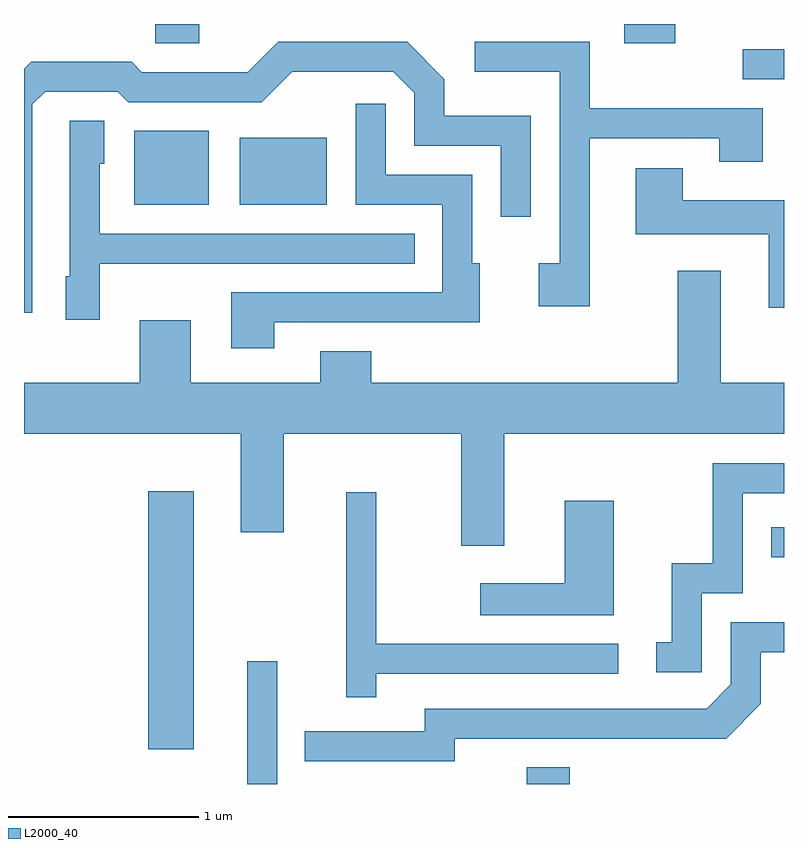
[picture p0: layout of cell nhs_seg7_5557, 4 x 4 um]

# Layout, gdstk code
import gdstk
lib = gdstk.Library(unit=1e-6, precision=1e-09)
def R(c, l, rs):  # rectangles x0, y0, x1, y1
    for r in rs: c.add(gdstk.rectangle(r[:2], r[2:], *l))
def P(c, l, *ps):  # polygons
    for p in ps: c.add(gdstk.Polygon(p, *l))
L2000_40 = (2000, 40)

nhs_seg7_5557 = lib.new_cell('nhs_seg7_5557')
R(nhs_seg7_5557, L2000_40, [(356.786,1710.252,356.944,1710.898), (358.256,1710.252,358.484,1710.339), (356.266,1710.436,356.504,1711.794), (359.543,1711.446,359.611,1711.604), (356.191,1713.301,356.584,1713.689), (356.746,1713.301,357.204,1713.654), (359.393,1713.961,359.611,1714.119), (356.301,1714.151,356.534,1714.252), (358.771,1714.151,359.039,1714.252)])
P(nhs_seg7_5557, L2000_40, [(358.589,1713.651),(359.271,1713.651),(359.271,1713.526),(359.499,1713.526),(359.499,1713.809),(358.589,1713.809),(358.589,1714.159),(357.983,1714.159),(357.983,1714.001),(358.431,1714.001),(358.431,1712.994),(358.321,1712.994),(358.321,1712.766),(358.589,1712.766)],
  [(355.654,1713.829),(355.722,1713.896),(356.104,1713.896),(356.159,1713.841),(356.862,1713.841),(357.022,1714.001),(357.554,1714.001),(357.666,1713.889),(357.666,1713.611),(358.121,1713.611),(358.121,1713.238),(358.279,1713.238),(358.279,1713.769),(357.824,1713.769),(357.824,1713.962),(357.627,1714.159),(356.949,1714.159),(356.789,1713.999),(356.232,1713.999),(356.177,1714.054),(355.649,1714.054),(355.611,1714.016),(355.611,1712.731),(355.654,1712.731)],
  [(356.929,1712.681),(358.009,1712.681),(358.009,1712.994),(357.969,1712.994),(357.969,1713.459),(357.514,1713.459),(357.514,1713.833),(357.356,1713.833),(357.356,1713.301),(357.811,1713.301),(357.811,1712.839),(356.701,1712.839),(356.701,1712.546),(356.929,1712.546)],
  [(356.009,1712.991),(357.668,1712.991),(357.668,1713.149),(356.009,1713.149),(356.009,1713.516),(356.034,1713.516),(356.034,1713.744),(355.851,1713.744),(355.851,1712.924),(355.831,1712.924),(355.831,1712.696),(356.009,1712.696)],
  [(359.611,1713.324),(359.079,1713.324),(359.079,1713.494),(358.831,1713.494),(358.831,1713.146),(359.531,1713.146),(359.531,1712.758),(359.611,1712.758)],
  [(358.139,1712.096),(359.611,1712.096),(359.611,1712.364),(359.279,1712.364),(359.279,1712.954),(359.051,1712.954),(359.051,1712.364),(357.439,1712.364),(357.439,1712.529),(357.171,1712.529),(357.171,1712.364),(356.489,1712.364),(356.489,1712.694),(356.221,1712.694),(356.221,1712.364),(355.611,1712.364),(355.611,1712.096),(356.751,1712.096),(356.751,1711.576),(356.979,1711.576),(356.979,1712.096),(357.911,1712.096),(357.911,1711.506),(358.139,1711.506)],
  [(359.179,1711.256),(359.394,1711.256),(359.394,1711.781),(359.611,1711.781),(359.611,1711.939),(359.236,1711.939),(359.236,1711.414),(359.021,1711.414),(359.021,1710.999),(358.938,1710.999),(358.938,1710.841),(359.179,1710.841)],
  [(357.464,1710.831),(358.738,1710.831),(358.738,1710.989),(357.464,1710.989),(357.464,1711.788),(357.306,1711.788),(357.306,1710.708),(357.464,1710.708)],
  [(358.714,1711.744),(358.456,1711.744),(358.456,1711.309),(358.013,1711.309),(358.013,1711.141),(358.714,1711.141)],
  [(357.879,1710.491),(359.307,1710.491),(359.489,1710.674),(359.489,1710.946),(359.611,1710.946),(359.611,1711.104),(359.331,1711.104),(359.331,1710.777),(359.204,1710.649),(357.721,1710.649),(357.721,1710.529),(357.088,1710.529),(357.088,1710.371),(357.879,1710.371)])

lib.write_gds('nhs_seg7_5557.gds')
